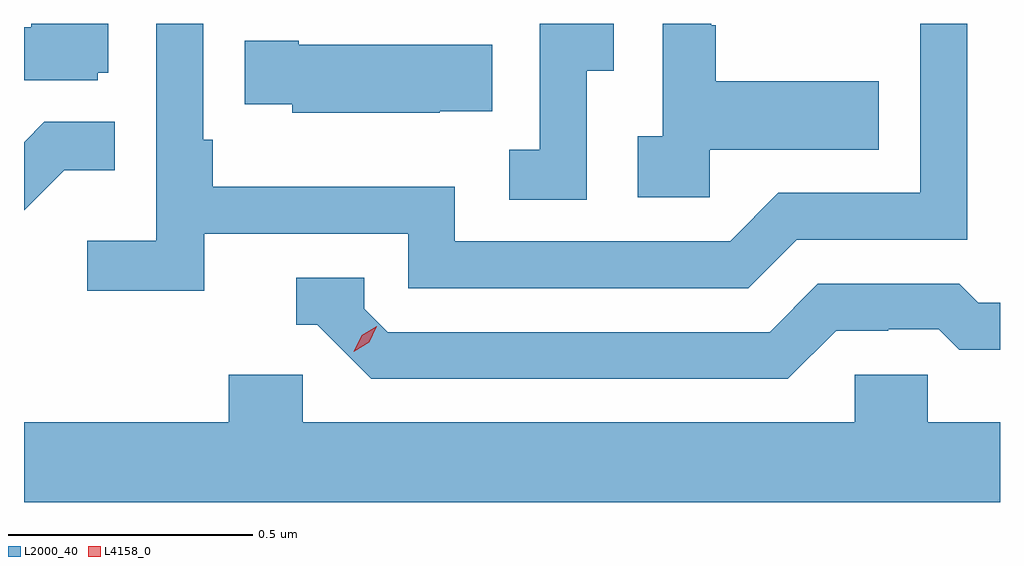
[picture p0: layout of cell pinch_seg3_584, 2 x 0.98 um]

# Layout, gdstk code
import gdstk
lib = gdstk.Library(unit=1e-6, precision=1e-09)
def P(c, l, *ps):  # polygons
    for p in ps: c.add(gdstk.Polygon(p, *l))
L2000_40 = (2000, 40)
L4158_0 = (4158, 0)

pinch_seg3_584 = lib.new_cell('pinch_seg3_584')
P(pinch_seg3_584, L2000_40, [(1030.728,704.464),(1030.783,704.464),(1030.783,704.561),(1030.632,704.561),(1030.632,704.303),(1030.569,704.303),(1030.569,704.2),(1030.728,704.2)],
  [(1030.98,704.303),(1031.327,704.303),(1031.327,704.443),(1030.993,704.443),(1030.993,704.558),(1030.983,704.558),(1030.983,704.561),(1030.884,704.561),(1030.884,704.33),(1030.833,704.33),(1030.833,704.205),(1030.98,704.205)],
  [(1029.726,704.46),(1029.748,704.46),(1029.748,704.561),(1029.59,704.561),(1029.59,704.554),(1029.575,704.554),(1029.575,704.445),(1029.726,704.445)],
  [(1029.944,704.13),(1030.362,704.13),(1030.362,704.019),(1031.059,704.019),(1031.158,704.118),(1031.508,704.118),(1031.508,704.561),(1031.412,704.561),(1031.412,704.214),(1031.121,704.214),(1031.022,704.115),(1030.458,704.115),(1030.458,704.227),(1029.962,704.227),(1029.962,704.323),(1029.942,704.323),(1029.942,704.561),(1029.846,704.561),(1029.846,704.116),(1029.705,704.116),(1029.705,704.014),(1029.944,704.014)],
  [(1030.427,704.381),(1030.535,704.381),(1030.535,704.518),(1030.138,704.518),(1030.138,704.526),(1030.027,704.526),(1030.027,704.396),(1030.125,704.396),(1030.125,704.378),(1030.427,704.378)],
  [(1029.657,704.261),(1029.761,704.261),(1029.761,704.36),(1029.617,704.36),(1029.575,704.318),(1029.575,704.179)],
  [(1031.239,703.932),(1031.346,703.932),(1031.346,703.935),(1031.449,703.935),(1031.491,703.893),(1031.575,703.893),(1031.575,703.989),(1031.53,703.989),(1031.491,704.028),(1031.202,704.028),(1031.103,703.929),(1030.32,703.929),(1030.272,703.977),(1030.272,704.04),(1030.133,704.04),(1030.133,703.944),(1030.176,703.944),(1030.287,703.833),(1031.14,703.833)],
  [(1031.575,703.744),(1031.427,703.744),(1031.427,703.842),(1031.277,703.842),(1031.277,703.744),(1030.146,703.744),(1030.146,703.842),(1029.995,703.842),(1029.995,703.744),(1029.575,703.744),(1029.575,703.58),(1031.575,703.58)])
P(pinch_seg3_584, L4158_0, [(1030.251,703.889),(1030.251,703.889),(1030.267,703.922),(1030.298,703.941),(1030.298,703.941),(1030.298,703.941),(1030.282,703.908),(1030.251,703.889)])

lib.write_gds('pinch_seg3_584.gds')
